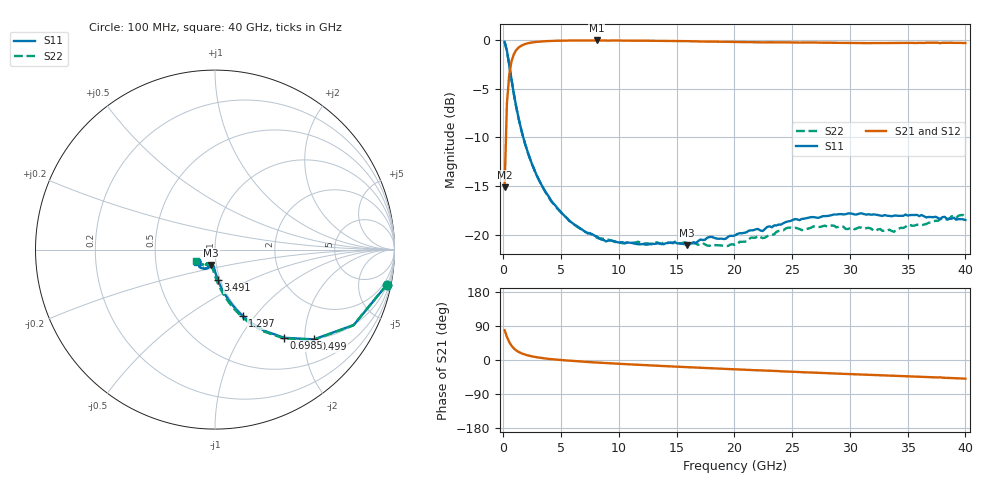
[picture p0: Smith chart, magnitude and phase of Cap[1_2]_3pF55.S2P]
!  2-Port S-parameters saved by WinCal
! VAR NAME=Cap[1_2]_3pF55
! VAR FILENAME=Cap[1_2]_3pF55.S2P
! VAR DATE=2/4/2010 3:04:58 PM
! VAR PHYS_PORTS=1,2
! VAR ObjTypeName=DATASET
! VAR IndexType=Frequency
# Hz S MA R 50
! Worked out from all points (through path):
!   201 points, 100 MHz to 40 GHz, reference 50 ohm
!   highest |S21| = -0.06 dB at 8.08 GHz (marker M1); lowest = -15.1 dB at 100 MHz (marker M2)
!   group delay of S21, straight-line fit = 4.56 ps
!   lowest |S11| = -21.0 dB at 15.86 GHz (marker M3), VSWR 1.20, Z = 47.2 - j8.19 ohm
!   |S11| at or under -10 dB: 1.72 GHz to end of sweep
!   |S22| runs from -21.1 to -0.2 dB; largest |S21 - S12| = 0.028
!   S11 on the Smith chart (normalised r, x): 100 MHz: 1.12, -9.72; 499 MHz: 0.99, -2.22; 698.5 MHz: 0.99, -1.59; 1.297 GHz: 0.98, -0.87; 3.491 GHz: 0.97, -0.34; 40 GHz: 0.81, -0.11
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1e8  0.977 -11.6  0.1757 78.7  0.1771 79.3  0.9764 -11.6
2.995e8  0.88 -28.5  0.471 61.3  0.4711 61.2  0.8783 -28.8
4.99e8  0.7446 -42.2  0.6629 47.4  0.6634 47.4  0.743 -42.7
6.985e8  0.6249 -51.8  0.7764 37.6  0.7768 37.6  0.6234 -52.4
8.98e8  0.5297 -58.7  0.8434 30.6  0.8439 30.6  0.5284 -59.4
1.297e9  0.4001 -67.5  0.9113 21.6  0.9123 21.6  0.3988 -68.5
1.696e9  0.3198 -72.8  0.943 16.0  0.9434 16.1  0.3191 -74.2
2.2945e9  0.2467 -78.0  0.9653 10.7  0.9655 10.8  0.2462 -79.9
3.4915e9  0.1724 -84.3  0.9832 4.6  0.983 4.6  0.172 -87.1
5.0875e9  0.129 -89.0  0.9906 -0.3  0.9901 -0.3  0.1287 -92.6
6.883e9  0.1062 -92.7  0.9918 -4.4  0.9923 -4.4  0.1061 -97.2
8.08e9  0.09857 -94.9  0.9928 -6.7  0.9934 -6.6  0.09708 -99.3
8.878e9  0.09281 -94.6  0.9918 -8.1  0.9915 -8.1  0.09496 -101.0
1.34665e10  0.09078 -101.6  0.988 -15.3  0.9879 -15.6  0.09102 -108.9
1.58605e10  0.08891 -104.3  0.9859 -19.0  0.9831 -19.0  0.09126 -115.6
1.78555e10  0.09786 -106.1  0.9788 -21.6  0.9773 -21.8  0.08813 -119.3
2.005e10  0.09972 -108.1  0.9751 -24.6  0.9741 -24.9  0.08916 -119.7
2.46385e10  0.1176 -115.1  0.9706 -30.5  0.9692 -30.6  0.1092 -126.4
2.6035e10  0.1214 -119.7  0.9679 -32.5  0.9665 -32.3  0.106 -130.5
2.6833e10  0.1237 -121.4  0.9685 -33.2  0.9667 -33.0  0.1107 -131.0
3.34165e10  0.1254 -135.5  0.9637 -41.1  0.9625 -41.7  0.1067 -139.5
4e10  0.1195 -145.2  0.9633 -49.2  0.9603 -50.1  0.1238 -148.7
